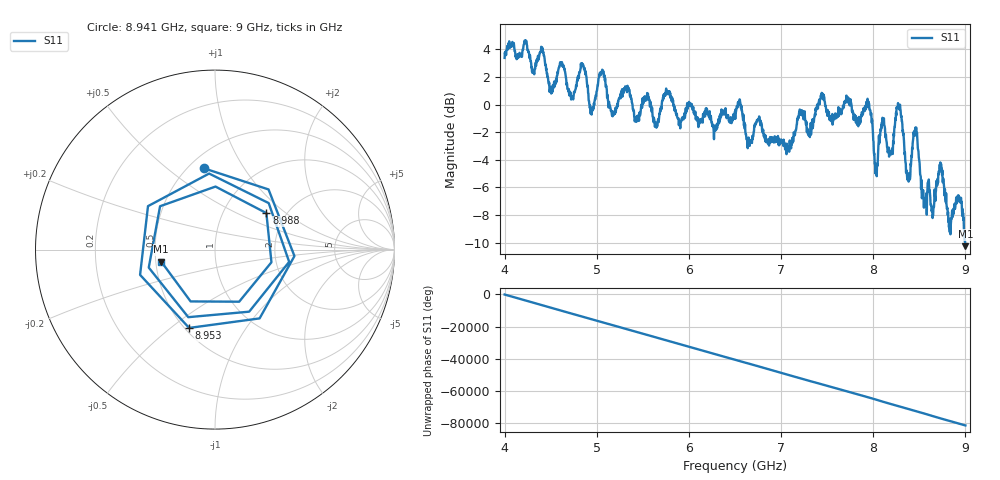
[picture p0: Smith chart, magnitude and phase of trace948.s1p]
! Created with skrf 1.8.0 (http://scikit-rf.org).
# Hz S RI R 50.0
!freq ReS11 ImS11
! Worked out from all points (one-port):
!   1601 points, 4 GHz to 9 GHz, reference 50 ohm
!   lowest |S11| = -10.2 dB at 9 GHz (marker M1), VSWR 1.89, Z = 26.7 - j3.93 ohm
!   |S11| at or under -10 dB: 8.997717 GHz to end of sweep
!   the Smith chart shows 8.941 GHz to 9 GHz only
!   S11 on the Smith chart (normalised r, x): 8.941 GHz: 0.59, +0.68; 8.953 GHz: 0.53, -0.58; 8.988 GHz: 1.59, +0.74; 9 GHz: 0.53, -0.08
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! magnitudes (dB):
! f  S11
! 4 GHz  3.4
! 4.406 GHz  4.0
! 4.506 GHz  0.8
! 4.625 GHz  2.8
! 4.725 GHz  0.5
! 4.853 GHz  2.9
! 4.941 GHz  -0.6
! 5.05 GHz  2.4
! 5.162 GHz  -0.6
! 5.25 GHz  0.5
! 5.875 GHz  -1.0
! 6.5 GHz  -0.5
! 7.125 GHz  -2.8
! 7.441 GHz  0.8
! 7.75 GHz  0.0
! 7.95 GHz  0.2
! 8.031 GHz  -5.0
! 8.194 GHz  -3.6
! 8.278 GHz  -0.2
! 8.375 GHz  -5.0
! 8.453 GHz  -2.1
! 8.556 GHz  -6.8
! 8.725 GHz  -4.7
! 8.825 GHz  -8.5
! 8.941 GHz  -6.8
! 8.953 GHz  -6.8
! 8.988 GHz  -9.1
! 9 GHz  -10.2
